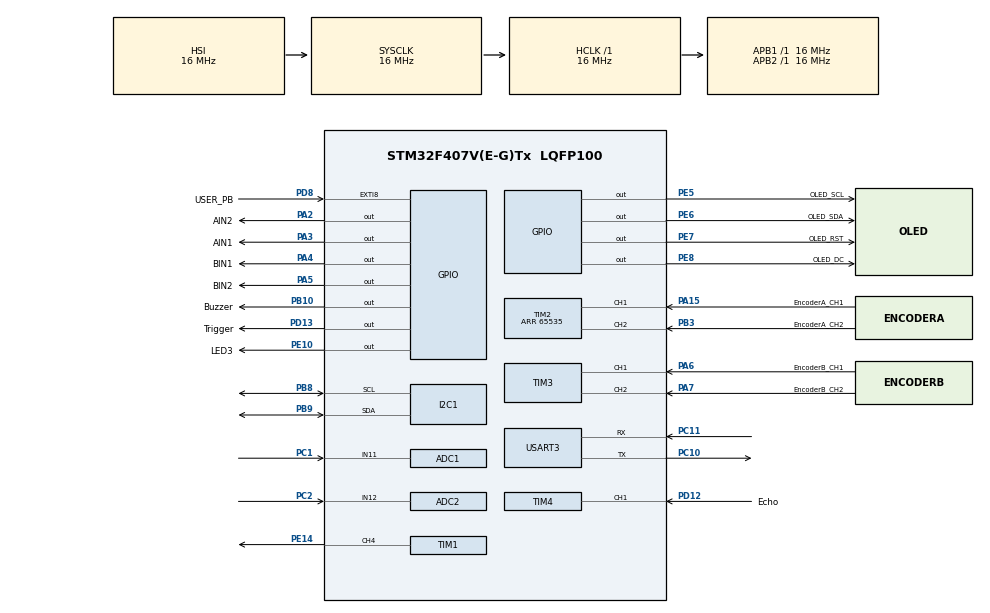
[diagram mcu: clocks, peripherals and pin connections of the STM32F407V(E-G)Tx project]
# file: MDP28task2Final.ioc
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ADC1.Channel-0\#ChannelRegularConversion=ADC_CHANNEL_11
ADC1.NbrOfConversionFlag=1
ADC1.Rank-0\#ChannelRegularConversion=1
ADC1.SamplingTime-0\#ChannelRegularConversion=ADC_SAMPLETIME_3CYCLES
ADC1.master=1
ADC2.Channel-0\#ChannelRegularConversion=ADC_CHANNEL_12
ADC2.NbrOfConversionFlag=1
ADC2.Rank-0\#ChannelRegularConversion=1
ADC2.SamplingTime-0\#ChannelRegularConversion=ADC_SAMPLETIME_3CYCLES
FREERTOS.Tasks01=defaultTask,24,128,StartDefaultTask,Default,NULL,Dynamic,NULL,NULL;motorTask,8,128,StartMotorTask,Default,NULL,Dynamic,NULL,NULL;OLEDTask,8,128,StartOLEDTask,Default,NULL,Dynamic,NULL,NULL;gyroTask,8,128,StartGyroTask,Default,NULL,Dynamic,NULL,NULL;ultrasonicTask,8,128,StartUltrasonicTask,Default,NULL,Dynamic,NULL,NULL;communicateTask,8,128,StartCommunicateTask,Default,NULL,Dynamic,NULL,NULL;encoderRTask,8,128,StartEncoderRTask,Default,NULL,Dynamic,NULL,NULL;encoderLTask,8,128,StartEncoderLTask,Default,NULL,Dynamic,NULL,NULL;Task2Handle,8,128,StartTask2,Default,NULL,Dynamic,NULL,NULL;IRTaskHandle,8,128,StartIRTask,Default,NULL,Dynamic,NULL,NULL
FREERTOS.configUSE_NEWLIB_REENTRANT=1
Mcu.Family=STM32F4
Mcu.Name=STM32F407V(E-G)Tx
Mcu.Package=LQFP100
NVIC.PriorityGroup=NVIC_PRIORITYGROUP_4
NVIC.RCC_IRQn=true\:5\:0\:false\:false\:true\:true\:true\:false\:true
NVIC.TIM1_BRK_TIM9_IRQn=true\:5\:0\:false\:false\:true\:false\:true\:true\:true
NVIC.TIM1_UP_TIM10_IRQn=true\:5\:0\:false\:false\:true\:false\:true\:true\:true
NVIC.TIM4_IRQn=true\:5\:0\:false\:false\:true\:true\:true\:true\:true
NVIC.TIM8_TRG_COM_TIM14_IRQn=true\:5\:0\:false\:false\:true\:false\:true\:true\:true
NVIC.USART3_IRQn=true\:5\:0\:false\:false\:true\:true\:true\:true\:true
PA15.GPIO_Label=EncoderA_CH1
PA15.Signal=S_TIM2_CH1_ETR
PA2.GPIO_Label=AIN2
PA2.GPIO_Speed=GPIO_SPEED_FREQ_HIGH
PA2.PinState=GPIO_PIN_RESET
PA2.Signal=GPIO_Output
PA3.GPIO_Label=AIN1
PA3.GPIO_Speed=GPIO_SPEED_FREQ_HIGH
PA3.Signal=GPIO_Output
PA4.GPIO_Label=BIN1
PA4.GPIO_Speed=GPIO_SPEED_FREQ_HIGH
PA4.Signal=GPIO_Output
PA5.GPIO_Label=BIN2
PA5.GPIO_Speed=GPIO_SPEED_FREQ_HIGH
PA5.Signal=GPIO_Output
PA6.GPIO_Label=EncoderB_CH1
PA6.Signal=S_TIM3_CH1
PA7.GPIO_Label=EncoderB_CH2
PA7.Signal=S_TIM3_CH2
PB10.GPIO_Label=Buzzer
PB10.Signal=GPIO_Output
PB3.GPIO_Label=EncoderA_CH2
PB3.Signal=S_TIM2_CH2
PB8.Mode=I2C
PB8.Signal=I2C1_SCL
PB9.Mode=I2C
PB9.Signal=I2C1_SDA
PC1.Signal=ADCx_IN11
PC10.Mode=Asynchronous
PC10.Signal=USART3_TX
PC11.Mode=Asynchronous
PC11.Signal=USART3_RX
PC2.Signal=ADCx_IN12
PC6.GPIO_Label=PWMA
PC6.Signal=S_TIM8_CH1
PC7.GPIO_Label=PWMB
PC7.Signal=S_TIM8_CH2
PD12.GPIO_Label=Echo
PD12.Signal=S_TIM4_CH1
PD13.GPIO_Label=Trigger
PD13.Signal=GPIO_Output
PD8.GPIO_Label=USER_PB
PD8.Signal=GPXTI8
PE10.GPIO_Label=LED3
PE10.Signal=GPIO_Output
PE14.Signal=S_TIM1_CH4
PE5.GPIO_Label=OLED_SCL
PE5.Signal=GPIO_Output
PE6.GPIO_Label=OLED_SDA
PE6.Signal=GPIO_Output
PE7.GPIO_Label=OLED_RST
PE7.Signal=GPIO_Output
PE8.GPIO_Label=OLED_DC
PE8.Signal=GPIO_Output
PH0-OSC_IN.Mode=HSE-External-Oscillator
PH0-OSC_IN.Signal=RCC_OSC_IN
PH1-OSC_OUT.Mode=HSE-External-Oscillator
PH1-OSC_OUT.Signal=RCC_OSC_OUT
ProjectManager.HeapSize=0x200
ProjectManager.StackSize=0x400
ProjectManager.TargetToolchain=STM32CubeIDE
RCC.AHBFreq_Value=16000000
RCC.APB1Freq_Value=16000000
RCC.APB2Freq_Value=16000000
RCC.CortexFreq_Value=16000000
RCC.HSE_VALUE=25000000
RCC.HSI_VALUE=16000000
RCC.LSE_VALUE=32768
RCC.SYSCLKFreq_VALUE=16000000
RCC.VCOOutputFreq_Value=192000000
SH.ADCx_IN11.0=ADC1_IN11,IN11
SH.ADCx_IN12.0=ADC2_IN12,IN12
SH.S_TIM1_CH4.0=TIM1_CH4,PWM Generation4 CH4
SH.S_TIM2_CH1_ETR.0=TIM2_CH1,Encoder_Interface
SH.S_TIM2_CH2.0=TIM2_CH2,Encoder_Interface
SH.S_TIM3_CH1.0=TIM3_CH1,Encoder_Interface
SH.S_TIM3_CH2.0=TIM3_CH2,Encoder_Interface
SH.S_TIM4_CH1.0=TIM4_CH1,Input_Capture1_from_TI1
SH.S_TIM8_CH1.0=TIM8_CH1
SH.S_TIM8_CH2.0=TIM8_CH2
TIM1.AutoReloadPreload=TIM_AUTORELOAD_PRELOAD_ENABLE
TIM1.Channel-PWM\ Generation4\ CH4=TIM_CHANNEL_4
TIM1.Period=1000
TIM1.Prescaler=160
TIM2.EncoderMode=TIM_ENCODERMODE_TI12
TIM2.IC1Filter=10
TIM2.IC2Filter=10
TIM2.Period=65535
TIM3.EncoderMode=TIM_ENCODERMODE_TI12
TIM3.IC1Filter=10
TIM3.IC2Filter=10
TIM4.Channel-Input_Capture1_from_TI1=TIM_CHANNEL_1
TIM4.Prescaler=16
TIM8.Channel-PWM\ Generation1\ No\ Output=TIM_CHANNEL_1
TIM8.Channel-PWM\ Generation2\ No\ Output=TIM_CHANNEL_2
TIM8.Period=7199
USART3.VirtualMode=VM_ASYNC
VP_FREERTOS_VS_CMSIS_V2.Mode=CMSIS_V2
VP_TIM1_VS_ClockSourceINT.Mode=Internal
VP_TIM8_VS_ClockSourceINT.Mode=Internal
VP_TIM8_VS_no_output1.Mode=PWM Generation1 No Output
VP_TIM8_VS_no_output2.Mode=PWM Generation2 No Output
board=custom

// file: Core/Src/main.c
/* USER CODE BEGIN Header */
/**
 ******************************************************************************
 * @file           : main.c
 * @brief          : Main program body
 ******************************************************************************
 * @attention
 *
 * Copyright (c) 2023 STMicroelectronics.
 * All rights reserved.
 *
 * This software is licensed under terms that can be found in the LICENSE file
 * in the root directory of this software component.
 * If no LICENSE file comes with this software, it is provided AS-IS.
 *
 ******************************************************************************
 */
/* USER CODE END Header */
#include "main.h"
#include "cmsis_os.h"

/* USER CODE BEGIN PD */
#define SERVOCENTER 149
#define SERVORIGHT 210
#define SERVOLEFT 105
/* USER CODE END PD */

ADC_HandleTypeDef hadc1;
ADC_HandleTypeDef hadc2;

I2C_HandleTypeDef hi2c1;

TIM_HandleTypeDef htim1;
TIM_HandleTypeDef htim2;
TIM_HandleTypeDef htim3;
TIM_HandleTypeDef htim4;
TIM_HandleTypeDef htim8;

UART_HandleTypeDef huart3;

/* Definitions for defaultTask */
osThreadId_t defaultTaskHandle;
const osThreadAttr_t defaultTask_attributes = {
  .name = "defaultTask",
  .stack_size = 128 * 4,
  .priority = (osPriority_t) osPriorityNormal,
};
/* Definitions for motorTask */
osThreadId_t motorTaskHandle;
const osThreadAttr_t motorTask_attributes = {
  .name = "motorTask",
  .stack_size = 128 * 4,
  .priority = (osPriority_t) osPriorityLow,
};
/* Definitions for OLEDTask */
osThreadId_t OLEDTaskHandle;
const osThreadAttr_t OLEDTask_attributes = {
  .name = "OLEDTask",
  .stack_size = 128 * 4,
  .priority = (osPriority_t) osPriorityLow,
};
/* Definitions for gyroTask */
osThreadId_t gyroTaskHandle;
const osThreadAttr_t gyroTask_attributes = {
  .name = "gyroTask",
  .stack_size = 128 * 4,
  .priority = (osPriority_t) osPriorityLow,
};
/* Definitions for ultrasonicTask */
osThreadId_t ultrasonicTaskHandle;
const osThreadAttr_t ultrasonicTask_attributes = {
  .name = "ultrasonicTask",
  .stack_size = 128 * 4,
  .priority = (osPriority_t) osPriorityLow,
};
/* Definitions for communicateTask */
osThreadId_t communicateTaskHandle;
const osThreadAttr_t communicateTask_attributes = {
  .name = "communicateTask",
  .stack_size = 128 * 4,
  .priority = (osPriority_t) osPriorityLow,
};
/* Definitions for encoderRTask */
osThreadId_t encoderRTaskHandle;
const osThreadAttr_t encoderRTask_attributes = {
  .name = "encoderRTask",
  .stack_size = 128 * 4,
  .priority = (osPriority_t) osPriorityLow,
};
/* Definitions for encoderLTask */
osThreadId_t encoderLTaskHandle;
const osThreadAttr_t encoderLTask_attributes = {
  .name = "encoderLTask",
  .stack_size = 128 * 4,
  .priority = (osPriority_t) osPriorityLow,
};
/* Definitions for Task2Handle */
osThreadId_t Task2HandleHandle;
const osThreadAttr_t Task2Handle_attributes = {
  .name = "Task2Handle",
  .stack_size = 128 * 4,
  .priority = (osPriority_t) osPriorityLow,
};
/* Definitions for IRTaskHandle */
osThreadId_t IRTaskHandleHandle;
const osThreadAttr_t IRTaskHandle_attributes = {
  .name = "IRTaskHandle",
  .stack_size = 128 * 4,
  .priority = (osPriority_t) osPriorityLow,
};

void SystemClock_Config(void);
static void MX_GPIO_Init(void);
static void MX_I2C1_Init(void);
static void MX_TIM1_Init(void);
static void MX_TIM2_Init(void);
static void MX_TIM3_Init(void);
static void MX_TIM4_Init(void);
static void MX_TIM8_Init(void);
static void MX_USART3_UART_Init(void);
static void MX_ADC1_Init(void);
static void MX_ADC2_Init(void);
void StartDefaultTask(void *argument);
void StartMotorTask(void *argument);
void StartOLEDTask(void *argument);
void StartGyroTask(void *argument);
void StartUltrasonicTask(void *argument);
void StartCommunicateTask(void *argument);
void StartEncoderRTask(void *argument);
void StartEncoderLTask(void *argument);
void StartTask2(void *argument);
void StartIRTask(void *argument);

/* USER CODE BEGIN 0 */
// communication
uint8_t aRxBuffer[5] = { 0 };
int flagDone = 0;
int magnitude = 0;
int start =0;
char databuffer[20];
double sendback;

// movement
uint16_t pwmVal_servo = SERVOCENTER;
uint16_t pwmVal_R = 0;
uint16_t pwmVal_L = 0;
int control = 0;
int control2 = 0;
int control3 = 0;
volatile int times_acceptable = 0;
int e_brake = 0;
int extraNudge = 0;
int errorcorrection = 0;
int straightUS = 0;

// encoder
int32_t rightEncoderVal = 0, leftEncoderVal = 0;
int32_t rightTarget = 0, leftTarget = 0;
double target_angle = 0;

// gyro
double total_angle = 0;
uint8_t gyroBuffer[20];
uint8_t ICMAddress = 0x68;
double error_angle = 0;

// ultrasonic
int Is_First_Captured = 0;
int32_t IC_Val1 = 0;
int32_t IC_Val2 = 0;
uint16_t Difference = 0;
uint16_t Distance = 0;
uint16_t firstDistance = -1;
int k=0;

//task 2 Juke functions
int activateJuke=0;
int scan=0;
int turnDone=0;
int straightDone=0;
int travel = 0;
char nexttask = '8';
int turn90 = 0;
int movebackL=0;
int movebackR=0;
int usTargetGLOBAL = 28;
double universalDistance = 0;
int moveBackLeftRun1 = 0;
int moveBackRightRun1 = 0;
int moveBackLeftRun2 = 0;
int moveBackRightRun2 = 0;
int obsTwoLength = 0;
int obsTwoFlag = 0;

float voltage1, voltage2 = 0;
int irDistance1, irDistance2 = 0;
uint32_t ADC_VAL1,ADC_VAL2 = 0;

int main(void)
{
	/* Reset of all peripherals, Initializes the Flash interface and the Systick. */
	HAL_Init();
	SystemClock_Config();
	MX_GPIO_Init();
	MX_I2C1_Init();
	MX_TIM1_Init();
	MX_TIM2_Init();
	MX_TIM3_Init();
	MX_TIM4_Init();
	MX_TIM8_Init();
	MX_USART3_UART_Init();
	MX_ADC1_Init();
	MX_ADC2_Init();
	/* USER CODE BEGIN 2 */
	OLED_Init();
	HAL_UART_Receive_IT(&huart3, (uint8_t*) aRxBuffer, 5);
	/* USER CODE END 2 */

	/* Init scheduler */
	osKernelInitialize();
	defaultTaskHandle = osThreadNew(StartDefaultTask, NULL, &defaultTask_attributes);
	/* creation of motorTask */
	motorTaskHandle = osThreadNew(StartMotorTask, NULL, &motorTask_attributes);
	/* creation of OLEDTask */
	OLEDTaskHandle = osThreadNew(StartOLEDTask, NULL, &OLEDTask_attributes);
	/* creation of gyroTask */
	gyroTaskHandle = osThreadNew(StartGyroTask, NULL, &gyroTask_attributes);
	/* creation of ultrasonicTask */
	ultrasonicTaskHandle = osThreadNew(StartUltrasonicTask, NULL, &ultrasonicTask_attributes);
	/* creation of communicateTask */
	communicateTaskHandle = osThreadNew(StartCommunicateTask, NULL, &communicateTask_attributes);
	/* creation of encoderRTask */
	encoderRTaskHandle = osThreadNew(StartEncoderRTask, NULL, &encoderRTask_attributes);
	/* creation of encoderLTask */
	encoderLTaskHandle = osThreadNew(StartEncoderLTask, NULL, &encoderLTask_attributes);
	/* creation of Task2Handle */
	Task2HandleHandle = osThreadNew(StartTask2, NULL, &Task2Handle_attributes);
	/* creation of IRTaskHandle */
	IRTaskHandleHandle = osThreadNew(StartIRTask, NULL, &IRTaskHandle_attributes);
	osKernelStart();
	while (1) {

	}
}

void SystemClock_Config(void)
{
  RCC_OscInitTypeDef RCC_OscInitStruct = {0};
  RCC_ClkInitTypeDef RCC_ClkInitStruct = {0};

  /** Configure the main internal regulator output voltage
  */
  __HAL_RCC_PWR_CLK_ENABLE();
  __HAL_PWR_VOLTAGESCALING_CONFIG(PWR_REGULATOR_VOLTAGE_SCALE1);

  /** Initializes the RCC Oscillators according to the specified parameters
  * in the RCC_OscInitTypeDef structure.
  */
  RCC_OscInitStruct.OscillatorType = RCC_OSCILLATORTYPE_HSI;
  RCC_OscInitStruct.HSIState = RCC_HSI_ON;
  RCC_OscInitStruct.HSICalibrationValue = RCC_HSICALIBRATION_DEFAULT;
  RCC_OscInitStruct.PLL.PLLState = RCC_PLL_NONE;
  if (HAL_RCC_OscConfig(&RCC_OscInitStruct) != HAL_OK)
  {
    Error_Handler();
  }

  /** Initializes the CPU, AHB and APB buses clocks
  */
  RCC_ClkInitStruct.ClockType = RCC_CLOCKTYPE_HCLK|RCC_CLOCKTYPE_SYSCLK
                              |RCC_CLOCKTYPE_PCLK1|RCC_CLOCKTYPE_PCLK2;
  RCC_ClkInitStruct.SYSCLKSource = RCC_SYSCLKSOURCE_HSI;
  RCC_ClkInitStruct.AHBCLKDivider = RCC_SYSCLK_DIV1;
  RCC_ClkInitStruct.APB1CLKDivider = RCC_HCLK_DIV1;
  RCC_ClkInitStruct.APB2CLKDivider = RCC_HCLK_DIV1;

  if (HAL_RCC_ClockConfig(&RCC_ClkInitStruct, FLASH_LATENCY_0) != HAL_OK)
  {
    Error_Handler();
  }
}

static void MX_ADC1_Init(void)
{

  ADC_ChannelConfTypeDef sConfig = {0};

  /** Configure the global features of the ADC (Clock, Resolution, Data Alignment and number of conversion)
  */
  hadc1.Instance = ADC1;
  hadc1.Init.ClockPrescaler = ADC_CLOCK_SYNC_PCLK_DIV2;
  hadc1.Init.Resolution = ADC_RESOLUTION_12B;
  hadc1.Init.ScanConvMode = DISABLE;
  hadc1.Init.ContinuousConvMode = DISABLE;
  hadc1.Init.DiscontinuousConvMode = DISABLE;
  hadc1.Init.ExternalTrigConvEdge = ADC_EXTERNALTRIGCONVEDGE_NONE;
  hadc1.Init.ExternalTrigConv = ADC_SOFTWARE_START;
  hadc1.Init.DataAlign = ADC_DATAALIGN_RIGHT;
  hadc1.Init.NbrOfConversion = 1;
  hadc1.Init.DMAContinuousRequests = DISABLE;
  hadc1.Init.EOCSelection = ADC_EOC_SINGLE_CONV;
  if (HAL_ADC_Init(&hadc1) != HAL_OK)
  {
    Error_Handler();
  }

  /** Configure for the selected ADC regular channel its corresponding rank in the sequencer and its sample time.
  */
  sConfig.Channel = ADC_CHANNEL_11;
  sConfig.Rank = 1;
  sConfig.SamplingTime = ADC_SAMPLETIME_3CYCLES;
  if (HAL_ADC_ConfigChannel(&hadc1, &sConfig) != HAL_OK)
  {
    Error_Handler();
  }

}

static void MX_ADC2_Init(void)
{

  ADC_ChannelConfTypeDef sConfig = {0};

  /** Configure the global features of the ADC (Clock, Resolution, Data Alignment and number of conversion)
  */
  hadc2.Instance = ADC2;
  hadc2.Init.ClockPrescaler = ADC_CLOCK_SYNC_PCLK_DIV2;
  hadc2.Init.Resolution = ADC_RESOLUTION_12B;
  hadc2.Init.ScanConvMode = DISABLE;
  hadc2.Init.ContinuousConvMode = DISABLE;
  hadc2.Init.DiscontinuousConvMode = DISABLE;
  hadc2.Init.ExternalTrigConvEdge = ADC_EXTERNALTRIGCONVEDGE_NONE;
  hadc2.Init.ExternalTrigConv = ADC_SOFTWARE_START;
  hadc2.Init.DataAlign = ADC_DATAALIGN_RIGHT;
  hadc2.Init.NbrOfConversion = 1;
  hadc2.Init.DMAContinuousRequests = DISABLE;
  hadc2.Init.EOCSelection = ADC_EOC_SINGLE_CONV;
  if (HAL_ADC_Init(&hadc2) != HAL_OK)
  {
    Error_Handler();
  }

  /** Configure for the selected ADC regular channel its corresponding rank in the sequencer and its sample time.
  */
  sConfig.Channel = ADC_CHANNEL_12;
  sConfig.Rank = 1;
  sConfig.SamplingTime = ADC_SAMPLETIME_3CYCLES;
  if (HAL_ADC_ConfigChannel(&hadc2, &sConfig) != HAL_OK)
  {
    Error_Handler();
  }
}

static void MX_I2C1_Init(void)
{
  hi2c1.Instance = I2C1;
  hi2c1.Init.ClockSpeed = 100000;
  hi2c1.Init.DutyCycle = I2C_DUTYCYCLE_2;
  hi2c1.Init.OwnAddress1 = 0;
  hi2c1.Init.AddressingMode = I2C_ADDRESSINGMODE_7BIT;
  hi2c1.Init.DualAddressMode = I2C_DUALADDRESS_DISABLE;
  hi2c1.Init.OwnAddress2 = 0;
  hi2c1.Init.GeneralCallMode = I2C_GENERALCALL_DISABLE;
  hi2c1.Init.NoStretchMode = I2C_NOSTRETCH_DISABLE;
  if (HAL_I2C_Init(&hi2c1) != HAL_OK)
  {
    Error_Handler();
  }
}

static void MX_TIM1_Init(void)
{

  TIM_ClockConfigTypeDef sClockSourceConfig = {0};
  TIM_MasterConfigTypeDef sMasterConfig = {0};
  TIM_OC_InitTypeDef sConfigOC = {0};
  TIM_BreakDeadTimeConfigTypeDef sBreakDeadTimeConfig = {0};
  htim1.Instance = TIM1;
  htim1.Init.Prescaler = 160;
  htim1.Init.CounterMode = TIM_COUNTERMODE_UP;
  htim1.Init.Period = 1000;
  htim1.Init.ClockDivision = TIM_CLOCKDIVISION_DIV1;
  htim1.Init.RepetitionCounter = 0;
  htim1.Init.AutoReloadPreload = TIM_AUTORELOAD_PRELOAD_ENABLE;
  if (HAL_TIM_Base_Init(&htim1) != HAL_OK)
  {
    Error_Handler();
  }
  sClockSourceConfig.ClockSource = TIM_CLOCKSOURCE_INTERNAL;
  if (HAL_TIM_ConfigClockSource(&htim1, &sClockSourceConfig) != HAL_OK)
  {
    Error_Handler();
  }
  if (HAL_TIM_PWM_Init(&htim1) != HAL_OK)
  {
    Error_Handler();
  }
  sMasterConfig.MasterOutputTrigger = TIM_TRGO_RESET;
  sMasterConfig.MasterSlaveMode = TIM_MASTERSLAVEMODE_DISABLE;
  if (HAL_TIMEx_MasterConfigSynchronization(&htim1, &sMasterConfig) != HAL_OK)
  {
    Error_Handler();
  }
  sConfigOC.OCMode = TIM_OCMODE_PWM1;
  sConfigOC.Pulse = 0;
  sConfigOC.OCPolarity = TIM_OCPOLARITY_HIGH;
  sConfigOC.OCFastMode = TIM_OCFAST_DISABLE;
  sConfigOC.OCIdleState = TIM_OCIDLESTATE_RESET;
  sConfigOC.OCNIdleState = TIM_OCNIDLESTATE_RESET;
  if (HAL_TIM_PWM_ConfigChannel(&htim1, &sConfigOC, TIM_CHANNEL_4) != HAL_OK)
  {
    Error_Handler();
  }
  sBreakDeadTimeConfig.OffStateRunMode = TIM_OSSR_DISABLE;
  sBreakDeadTimeConfig.OffStateIDLEMode = TIM_OSSI_DISABLE;
  sBreakDeadTimeConfig.LockLevel = TIM_LOCKLEVEL_OFF;
  sBreakDeadTimeConfig.DeadTime = 0;
  sBreakDeadTimeConfig.BreakState = TIM_BREAK_DISABLE;
  sBreakDeadTimeConfig.BreakPolarity = TIM_BREAKPOLARITY_HIGH;
  sBreakDeadTimeConfig.AutomaticOutput = TIM_AUTOMATICOUTPUT_DISABLE;
  if (HAL_TIMEx_ConfigBreakDeadTime(&htim1, &sBreakDeadTimeConfig) != HAL_OK)
  {
    Error_Handler();
  }
  HAL_TIM_MspPostInit(&htim1);
}

// ! @brief TIM2 Initialization Function
static void MX_TIM2_Init(void)
{
  TIM_Encoder_InitTypeDef sConfig = {0};
  TIM_MasterConfigTypeDef sMasterConfig = {0};
  htim2.Instance = TIM2;
  htim2.Init.Prescaler = 0;
  htim2.Init.CounterMode = TIM_COUNTERMODE_UP;
  htim2.Init.Period = 65535;
  htim2.Init.ClockDivision = TIM_CLOCKDIVISION_DIV1;
  htim2.Init.AutoReloadPreload = TIM_AUTORELOAD_PRELOAD_DISABLE;
  sConfig.EncoderMode = TIM_ENCODERMODE_TI12;
  sConfig.IC1Polarity = TIM_ICPOLARITY_RISING;
  sConfig.IC1Selection = TIM_ICSELECTION_DIRECTTI;
  sConfig.IC1Prescaler = TIM_ICPSC_DIV1;
  sConfig.IC1Filter = 10;
  sConfig.IC2Polarity = TIM_ICPOLARITY_RISING;
  sConfig.IC2Selection = TIM_ICSELECTION_DIRECTTI;
  sConfig.IC2Prescaler = TIM_ICPSC_DIV1;
  sConfig.IC2Filter = 10;
  if (HAL_TIM_Encoder_Init(&htim2, &sConfig) != HAL_OK)
  {
    Error_Handler();
  }
  sMasterConfig.MasterOutputTrigger = TIM_TRGO_RESET;
  sMasterConfig.MasterSlaveMode = TIM_MASTERSLAVEMODE_DISABLE;
  if (HAL_TIMEx_MasterConfigSynchronization(&htim2, &sMasterConfig) != HAL_OK)
  {
    Error_Handler();
  }
}

// ! @brief TIM3 Initialization Function
static void MX_TIM3_Init(void)
{
  TIM_Encoder_InitTypeDef sConfig = {0};
  TIM_MasterConfigTypeDef sMasterConfig = {0};
  htim3.Instance = TIM3;
  htim3.Init.Prescaler = 0;
  htim3.Init.CounterMode = TIM_COUNTERMODE_UP;
  htim3.Init.Period = 65535;
  htim3.Init.ClockDivision = TIM_CLOCKDIVISION_DIV1;
  htim3.Init.AutoReloadPreload = TIM_AUTORELOAD_PRELOAD_DISABLE;
  sConfig.EncoderMode = TIM_ENCODERMODE_TI12;
  sConfig.IC1Polarity = TIM_ICPOLARITY_RISING;
  sConfig.IC1Selection = TIM_ICSELECTION_DIRECTTI;
  sConfig.IC1Prescaler = TIM_ICPSC_DIV1;
  sConfig.IC1Filter = 10;
  sConfig.IC2Polarity = TIM_ICPOLARITY_RISING;
  sConfig.IC2Selection = TIM_ICSELECTION_DIRECTTI;
  sConfig.IC2Prescaler = TIM_ICPSC_DIV1;
  sConfig.IC2Filter = 10;
  if (HAL_TIM_Encoder_Init(&htim3, &sConfig) != HAL_OK)
  {
    Error_Handler();
  }
  sMasterConfig.MasterOutputTrigger = TIM_TRGO_RESET;
  sMasterConfig.MasterSlaveMode = TIM_MASTERSLAVEMODE_DISABLE;
  if (HAL_TIMEx_MasterConfigSynchronization(&htim3, &sMasterConfig) != HAL_OK)
  {
    Error_Handler();
  }
}

// ! @brief TIM4 Initialization Function
static void MX_TIM4_Init(void)
{
  TIM_MasterConfigTypeDef sMasterConfig = {0};
  TIM_IC_InitTypeDef sConfigIC = {0};

  htim4.Instance = TIM4;
  htim4.Init.Prescaler = 16;
  htim4.Init.CounterMode = TIM_COUNTERMODE_UP;
  htim4.Init.Period = 65535;
  htim4.Init.ClockDivision = TIM_CLOCKDIVISION_DIV1;
  htim4.Init.AutoReloadPreload = TIM_AUTORELOAD_PRELOAD_DISABLE;
  if (HAL_TIM_IC_Init(&htim4) != HAL_OK)
  {
    Error_Handler();
  }
  sMasterConfig.MasterOutputTrigger = TIM_TRGO_RESET;
  sMasterConfig.MasterSlaveMode = TIM_MASTERSLAVEMODE_DISABLE;
  if (HAL_TIMEx_MasterConfigSynchronization(&htim4, &sMasterConfig) != HAL_OK)
  {
    Error_Handler();
  }
  sConfigIC.ICPolarity = TIM_INPUTCHANNELPOLARITY_RISING;
  sConfigIC.ICSelection = TIM_ICSELECTION_DIRECTTI;
  sConfigIC.ICPrescaler = TIM_ICPSC_DIV1;
  sConfigIC.ICFilter = 0;
  if (HAL_TIM_IC_ConfigChannel(&htim4, &sConfigIC, TIM_CHANNEL_1) != HAL_OK)
  {
    Error_Handler();
  }
}

//! @brief TIM8 Initialization Function
static void MX_TIM8_Init(void)
{
  TIM_ClockConfigTypeDef sClockSourceConfig = {0};
  TIM_MasterConfigTypeDef sMasterConfig = {0};
  TIM_OC_InitTypeDef sConfigOC = {0};
  TIM_BreakDeadTimeConfigTypeDef sBreakDeadTimeConfig = {0};
  htim8.Instance = TIM8;
  htim8.Init.Prescaler = 0;
  htim8.Init.CounterMode = TIM_COUNTERMODE_UP;
  htim8.Init.Period = 7199;
  htim8.Init.ClockDivision = TIM_CLOCKDIVISION_DIV1;
  htim8.Init.RepetitionCounter = 0;
  htim8.Init.AutoReloadPreload = TIM_AUTORELOAD_PRELOAD_DISABLE;
  if (HAL_TIM_Base_Init(&htim8) != HAL_OK)
  {
    Error_Handler();
  }
  sClockSourceConfig.ClockSource = TIM_CLOCKSOURCE_INTERNAL;
  if (HAL_TIM_ConfigClockSource(&htim8, &sClockSourceConfig) != HAL_OK)
  {
    Error_Handler();
  }
  if (HAL_TIM_PWM_Init(&htim8) != HAL_OK)
  {
    Error_Handler();
  }
  sMasterConfig.MasterOutputTrigger = TIM_TRGO_RESET;
  sMasterConfig.MasterSlaveMode = TIM_MASTERSLAVEMODE_DISABLE;
  if (HAL_TIMEx_MasterConfigSynchronization(&htim8, &sMasterConfig) != HAL_OK)
  {
    Error_Handler();
  }
  sConfigOC.OCMode = TIM_OCMODE_PWM1;
  sConfigOC.Pulse = 0;
  sConfigOC.OCPolarity = TIM_OCPOLARITY_HIGH;
  sConfigOC.OCNPolarity = TIM_OCNPOLARITY_HIGH;
  sConfigOC.OCFastMode = TIM_OCFAST_DISABLE;
  sConfigOC.OCIdleState = TIM_OCIDLESTATE_RESET;
  sConfigOC.OCNIdleState = TIM_OCNIDLESTATE_RESET;
  if (HAL_TIM_PWM_ConfigChannel(&htim8, &sConfigOC, TIM_CHANNEL_1) != HAL_OK)
  {
    Error_Handler();
  }
  if (HAL_TIM_PWM_ConfigChannel(&htim8, &sConfigOC, TIM_CHANNEL_2) != HAL_OK)
  {
    Error_Handler();
  }
  sBreakDeadTimeConfig.OffStateRunMode = TIM_OSSR_DISABLE;
  sBreakDeadTimeConfig.OffStateIDLEMode = TIM_OSSI_DISABLE;
  sBreakDeadTimeConfig.LockLevel = TIM_LOCKLEVEL_OFF;
  sBreakDeadTimeConfig.DeadTime = 0;
  sBreakDeadTimeConfig.BreakState = TIM_BREAK_DISABLE;
  sBreakDeadTimeConfig.BreakPolarity = TIM_BREAKPOLARITY_HIGH;
  sBreakDeadTimeConfig.AutomaticOutput = TIM_AUTOMATICOUTPUT_DISABLE;
  if (HAL_TIMEx_ConfigBreakDeadTime(&htim8, &sBreakDeadTimeConfig) != HAL_OK)
  {
    Error_Handler();
  }
}

// ! @brief USART3 Initialization Function
static void MX_USART3_UART_Init(void)
{
  huart3.Instance = USART3;
  huart3.Init.BaudRate = 115200;
  huart3.Init.WordLength = UART_WORDLENGTH_8B;
  huart3.Init.StopBits = UART_STOPBITS_1;
  huart3.Init.Parity = UART_PARITY_NONE;
  huart3.Init.Mode = UART_MODE_TX_RX;
  huart3.Init.HwFlowCtl = UART_HWCONTROL_NONE;
  huart3.Init.OverSampling = UART_OVERSAMPLING_16;
  if (HAL_UART_Init(&huart3) != HAL_OK)
  {
    Error_Handler();
  }
}

// ! @brief GPIO Initialization Function
static void MX_GPIO_Init(void)
{
  GPIO_InitTypeDef GPIO_InitStruct = {0};

  /* GPIO Ports Clock Enable */
  __HAL_RCC_GPIOE_CLK_ENABLE();
  __HAL_RCC_GPIOH_CLK_ENABLE();
  __HAL_RCC_GPIOC_CLK_ENABLE();
  __HAL_RCC_GPIOA_CLK_ENABLE();
  __HAL_RCC_GPIOB_CLK_ENABLE();
  __HAL_RCC_GPIOD_CLK_ENABLE();

  /*Configure GPIO pin Output Level */
  HAL_GPIO_WritePin(GPIOE, OLED_SCL_Pin|OLED_SDA_Pin|OLED_RST_Pin|OLED_DC_Pin
                          |LED3_Pin, GPIO_PIN_RESET);

  /*Configure GPIO pin Output Level */
  HAL_GPIO_WritePin(GPIOA, AIN2_Pin|AIN1_Pin|BIN1_Pin|BIN2_Pin, GPIO_PIN_RESET);

  /*Configure GPIO pin Output Level */
  HAL_GPIO_WritePin(Buzzer_GPIO_Port, Buzzer_Pin, GPIO_PIN_RESET);

  /*Configure GPIO pin Output Level */
  HAL_GPIO_WritePin(Trigger_GPIO_Port, Trigger_Pin, GPIO_PIN_RESET);

  /*Configure GPIO pins : OLED_SCL_Pin OLED_SDA_Pin OLED_RST_Pin OLED_DC_Pin
                           LED3_Pin */
  GPIO_InitStruct.Pin = OLED_SCL_Pin|OLED_SDA_Pin|OLED_RST_Pin|OLED_DC_Pin
                          |LED3_Pin;
  GPIO_InitStruct.Mode = GPIO_MODE_OUTPUT_PP;
  GPIO_InitStruct.Pull = GPIO_NOPULL;
  GPIO_InitStruct.Speed = GPIO_SPEED_FREQ_LOW;
  HAL_GPIO_Init(GPIOE, &GPIO_InitStruct);

  /*Configure GPIO pins : AIN2_Pin AIN1_Pin BIN1_Pin BIN2_Pin */
  GPIO_InitStruct.Pin = AIN2_Pin|AIN1_Pin|BIN1_Pin|BIN2_Pin;
  GPIO_InitStruct.Mode = GPIO_MODE_OUTPUT_PP;
  GPIO_InitStruct.Pull = GPIO_NOPULL;
  GPIO_InitStruct.Speed = GPIO_SPEED_FREQ_HIGH;
  HAL_GPIO_Init(GPIOA, &GPIO_InitStruct);

  /*Configure GPIO pin : Buzzer_Pin */
  GPIO_InitStruct.Pin = Buzzer_Pin;
  GPIO_InitStruct.Mode = GPIO_MODE_OUTPUT_PP;
  GPIO_InitStruct.Pull = GPIO_NOPULL;
  GPIO_InitStruct.Speed = GPIO_SPEED_FREQ_LOW;
  HAL_GPIO_Init(Buzzer_GPIO_Port, &GPIO_InitStruct);

  /*Configure GPIO pin : USER_PB_Pin */
  GPIO_InitStruct.Pin = USER_PB_Pin;
  GPIO_InitStruct.Mode = GPIO_MODE_IT_RISING;
  GPIO_InitStruct.Pull = GPIO_NOPULL;
  HAL_GPIO_Init(USER_PB_GPIO_Port, &GPIO_InitStruct);

  /*Configure GPIO pin : Trigger_Pin */
  GPIO_InitStruct.Pin = Trigger_Pin;
  GPIO_InitStruct.Mode = GPIO_MODE_OUTPUT_PP;
  GPIO_InitStruct.Pull = GPIO_NOPULL;
  GPIO_InitStruct.Speed = GPIO_SPEED_FREQ_LOW;
  HAL_GPIO_Init(Trigger_GPIO_Port, &GPIO_InitStruct);

}

/* USER CODE BEGIN 4 */
// communication
void HAL_UART_RxCpltCallback(UART_HandleTypeDef *huart) {
	/* to prevent unused argument(s) compilation warning */
	UNUSED(huart);
	HAL_UART_Receive_IT(&huart3, aRxBuffer, 5);
}
void HAL_GPIO_EXTI_Callback( uint16_t GPIO_Pin ) {
	if (GPIO_Pin == USER_PB_Pin) {
		if (start == 0){
			start = 1;
		    }
		else
			start = 0;
 	    }
}

// ultrasonic
void delay(uint16_t time) {
	__HAL_TIM_SET_COUNTER(&htim4, 0);
	while (__HAL_TIM_GET_COUNTER (&htim4) < time)
		;
}

void HAL_TIM_IC_CaptureCallback(TIM_HandleTypeDef *htim) {
	if (htim->Channel == HAL_TIM_ACTIVE_CHANNEL_1) {
		if (Is_First_Captured == 0) {
			IC_Val1 = HAL_TIM_ReadCapturedValue(htim, TIM_CHANNEL_1);
			Is_First_Captured = 1;
			__HAL_TIM_SET_CAPTUREPOLARITY(htim, TIM_CHANNEL_1,
					TIM_INPUTCHANNELPOLARITY_FALLING);
		} else if (Is_First_Captured == 1) {
			IC_Val2 = HAL_TIM_ReadCapturedValue(htim, TIM_CHANNEL_1);
			__HAL_TIM_SET_COUNTER(htim, 0);

			if (IC_Val2 > IC_Val1) {
				Difference = IC_Val2 - IC_Val1;
			}

			else if (IC_Val1 > IC_Val2) {
				Difference = (65535 - IC_Val1) + IC_Val2;
			}

			Distance = Difference * .0343 / 2;

			Is_First_Captured = 0;

			__HAL_TIM_SET_CAPTUREPOLARITY(htim, TIM_CHANNEL_1,
					TIM_INPUTCHANNELPOLARITY_RISING);
			__HAL_TIM_DISABLE_IT(&htim4, TIM_IT_CC1);
		}
	}
}

void HCSR04_Read(void) //Call when u want to get reading from US
{
	HAL_GPIO_WritePin(Trigger_GPIO_Port, Trigger_Pin, GPIO_PIN_SET);
	delay(10);
	HAL_GPIO_WritePin(Trigger_GPIO_Port, Trigger_Pin, GPIO_PIN_RESET);
	__HAL_TIM_ENABLE_IT(&htim4, TIM_IT_CC1);
}
//task 2 funct

// movement
void moveCarStraight(double distance) {
	distance = distance * 75 * 0.99;
	pwmVal_servo = SERVOCENTER;
	osDelay(300);
	e_brake = 0;
	times_acceptable = 0;
	rightEncoderVal = 75000;
	leftEncoderVal = 75000;
	rightTarget = 75000;
	leftTarget = 75000;
	rightTarget += distance;
	leftTarget += distance;
	control =0;
	//while (finishCheck2());

}

void buzzerBeep()
{
	HAL_GPIO_TogglePin(GPIOB, GPIO_PIN_10); //Buzzer On
	HAL_Delay(1000);
	HAL_GPIO_TogglePin(GPIOB, GPIO_PIN_10); //Buzzer Off
}

void moveCarStop() {
	e_brake = 1;
	pwmVal_servo = SERVOCENTER;
	osDelay(300);
}

void moveCarRight(double angle) {
	pwmVal_servo = SERVORIGHT;
	osDelay(200);
	e_brake = 0;
	control = 1;
	times_acceptable = 0;
	target_angle -= angle;
	while (finishCheck2());
}

void moveCarRightFaster(double angle) {
	pwmVal_servo = SERVORIGHT;
	osDelay(100);
	e_brake = 0;
	control = 1;
	times_acceptable = 0;
	target_angle -= angle;
	while (finishCheck2());
}

void moveCarLeftFaster(double angle) {
	pwmVal_servo = SERVOLEFT;
	osDelay(100);
	e_brake = 0;
	control = 1;
	times_acceptable = 0;
	target_angle += angle;
	while (finishCheck2());
}

void moveCarLeft(double angle) {
	pwmVal_servo = SERVOLEFT;
	osDelay(300);
	e_brake = 0;
	control = 1;
	times_acceptable = 0;
	target_angle += angle;
	while (finishCheck2());
}

// error correction
int PID_Control(int error, int right) {//straights
	if (right) { //rightMotor
		if (error > 0) { //go forward
			HAL_GPIO_WritePin(GPIOA, BIN1_Pin, GPIO_PIN_SET); // set direction of rotation for wheel B- forward
			HAL_GPIO_WritePin(GPIOA, BIN2_Pin, GPIO_PIN_RESET);
		} else { //go backward
			HAL_GPIO_WritePin(GPIOA, BIN1_Pin, GPIO_PIN_RESET); // set direction of rotation for wheel B - reverse
			HAL_GPIO_WritePin(GPIOA, BIN2_Pin, GPIO_PIN_SET);
		}
	} else { //leftMotor
		if (error > 0) { //go forward
			HAL_GPIO_WritePin(GPIOA, AIN1_Pin, GPIO_PIN_SET); // set direction of rotation for wheel A - forward
			HAL_GPIO_WritePin(GPIOA, AIN2_Pin, GPIO_PIN_RESET);
		} else { //go backward
			HAL_GPIO_WritePin(GPIOA, AIN1_Pin, GPIO_PIN_RESET); // set direction of rotation for wheel A - reverse
			HAL_GPIO_WritePin(GPIOA, AIN2_Pin, GPIO_PIN_SET);
		}
	}
	error = abs(error);
	if (error > 2000) {
		return 4000; // 3000
	} else if (error > 500) {
		return 3000; // 2500
	} else if (error > 200) {
		return 2500; // 1700
	} else if (error > 100) {
		return 1500; // 1000
	} else if (error > 2) {
		times_acceptable++;
		return 700;
	} else if (error >= 1) {
		times_acceptable++;
		return 0;
	} else {
		times_acceptable++;
		return 0;
	}
}
int PID_Juke(double error, int right)//ultrasonic
{
	//int outputPWM = 0;
	int temp = 1;

	//degree of acceptance will be 28-28.5, 40?  //10

	if (error < usTargetGLOBAL){
		error = usTargetGLOBAL*2 - error ;
		temp = -1;
	}

	if(right){//rightMotor
		if(temp>0){//go forward
			HAL_GPIO_WritePin(GPIOA, BIN1_Pin, GPIO_PIN_SET); // set direction of rotation for wheel B- forward
			HAL_GPIO_WritePin(GPIOA, BIN2_Pin, GPIO_PIN_RESET);
		}else{//go backward
		    HAL_GPIO_WritePin(GPIOA, BIN1_Pin, GPIO_PIN_RESET); // set direction of rotation for wheel B - reverse
			HAL_GPIO_WritePin(GPIOA, BIN2_Pin, GPIO_PIN_SET);
		}
	}else{//leftMotor
		if(temp>0){//go forward
			HAL_GPIO_WritePin(GPIOA, AIN1_Pin, GPIO_PIN_SET); // set direction of rotation for wheel A - forward
			HAL_GPIO_WritePin(GPIOA, AIN2_Pin, GPIO_PIN_RESET);
		}else{//go backward
		    HAL_GPIO_WritePin(GPIOA, AIN1_Pin, GPIO_PIN_RESET); // set direction of rotation for wheel A - reverse
			HAL_GPIO_WritePin(GPIOA, AIN2_Pin, GPIO_PIN_SET);
		}
	}

	if(error<0){
		error *= -1;
	}

	if(error > 40){
		return 4000; // 4000
	}else if(error > usTargetGLOBAL+9){
		return 3500; // 3300
	}else if(error > usTargetGLOBAL+5){
		return 1500; //900
	}
	else if(error > usTargetGLOBAL+3){
			times_acceptable++; // there is None here
			return 900; //900
	}else if(error <=usTargetGLOBAL+.5){
		times_acceptable++;
		return 0;
	}else{
		times_acceptable +=500;; //500
		return 0;
	}

}

int PID_Angle(double errord, int right) {
	int error = (int) (errord * 10);
	if (right) { //rightMotor
		if (error > 0) { //go forward
			HAL_GPIO_WritePin(GPIOA, BIN1_Pin, GPIO_PIN_SET); // set direction of rotation for wheel B- forward
			HAL_GPIO_WritePin(GPIOA, BIN2_Pin, GPIO_PIN_RESET);
		} else { //go backward
			HAL_GPIO_WritePin(GPIOA, BIN1_Pin, GPIO_PIN_RESET); // set direction of rotation for wheel B - reverse
			HAL_GPIO_WritePin(GPIOA, BIN2_Pin, GPIO_PIN_SET);
		}
	} else { //leftMotor
		if (error < 0) { //go forward
			HAL_GPIO_WritePin(GPIOA, AIN1_Pin, GPIO_PIN_SET); // set direction of rotation for wheel A - forward
			HAL_GPIO_WritePin(GPIOA, AIN2_Pin, GPIO_PIN_RESET);
		} else { //go backward
			HAL_GPIO_WritePin(GPIOA, AIN1_Pin, GPIO_PIN_RESET); // set direction of rotation for wheel A - reverse
			HAL_GPIO_WritePin(GPIOA, AIN2_Pin, GPIO_PIN_SET);
		}
	}

	error = abs(error);
	if (error > 1000){
		return 6000; // new add
	}else if (error > 700) {
		return 5500;
	}else if (error > 300) {
		return 3600; // 3300
	} else if (error > 200) {
		return 3200; // 3000
	} else if (error > 150) {
		return 3000; // 2400
	} else if (error > 100) {
		return 2600; // 2000
	}else if (error > 70) {
//		times_acceptable++;
		return 1500;
	} else if (error > 50) {
		times_acceptable++;
		return 1000; // 1000
	} else if (error >= 25) {
		times_acceptable++;
		return 900; // 1000
	} else if (error >= 8) {
		times_acceptable++;
		return 800;
	} else {
		times_acceptable++;
		return 200; // 200
	}
}

int finishCheck() {
	if (times_acceptable > 20) {
		e_brake = 1;
		pwmVal_L = pwmVal_R = 0;
		leftTarget = leftEncoderVal;
		rightTarget = rightEncoderVal;
		times_acceptable = 0;
		straightUS = 0;
		errorcorrection = 0;
		control = 0;
		osDelay(30);

		return 0;
	}
	return 1;
}
int finishCheck2() {
	if (times_acceptable > 8) { // 5

		return 0;
	}
	return 1;
}

void finished() {
		e_brake = 1;
		pwmVal_L = pwmVal_R = 0;
		leftTarget = leftEncoderVal;
		rightTarget = rightEncoderVal;
		times_acceptable = 0;
		control = 0;
		control2 = 0;
		control3 = 0;
		straightUS = 0;
		osDelay(30);

}

void IRCheck(int a){
	pwmVal_servo = a;
	osDelay(30);
	e_brake = 0;
	control = 1;
}

// gyro
void readByte(uint8_t addr, uint8_t *data) {
	gyroBuffer[0] = addr;
	HAL_I2C_Master_Transmit(&hi2c1, ICMAddress << 1, gyroBuffer, 1, 10);
	HAL_I2C_Master_Receive(&hi2c1, ICMAddress << 1, data, 2, 20);
}

void writeByte(uint8_t addr, uint8_t data) {
	gyroBuffer[0] = addr;
	gyroBuffer[1] = data;
	HAL_I2C_Master_Transmit(&hi2c1, ICMAddress << 1, gyroBuffer, 2, 20);
}

void gyroInit() {
	writeByte(0x06, 0x00);
	osDelay(10);
	writeByte(0x03, 0x80);
	osDelay(10);
	writeByte(0x07, 0x07);
	osDelay(10);
	writeByte(0x06, 0x01);
	osDelay(10);
	writeByte(0x7F, 0x20);
	osDelay(10);
	writeByte(0x01, 0x2F);
	osDelay(10);
	writeByte(0x0, 0x00);
	osDelay(10);
	writeByte(0x7F, 0x00);
	osDelay(10);
	writeByte(0x07, 0x00);
	osDelay(10);
}

void StartDefaultTask(void *argument)
{
  /* USER CODE BEGIN 5 */
	/* Infinite loop */
	for (;;) {
		HAL_GPIO_TogglePin(LED3_GPIO_Port, LED3_Pin);
		osDelay(2000);
	}
  /* USER CODE END 5 */
}

void StartMotorTask(void *argument)
{
	//control = 1 gives free rein over the servo direction
  /* USER CODE BEGIN StartMotorTask */
	pwmVal_R = 0;
	pwmVal_L = 0;
	int straightCorrection = 0;
	HAL_TIM_PWM_Start(&htim8, TIM_CHANNEL_1);
	HAL_TIM_PWM_Start(&htim8, TIM_CHANNEL_2);
	HAL_TIM_PWM_Start(&htim1, TIM_CHANNEL_4);
	htim1.Instance->CCR4 = SERVOCENTER; //Centre

	osDelay(300);

	/* Infinite loop */
	for (;;) {
		htim1.Instance->CCR4 = pwmVal_servo;
		error_angle = target_angle - total_angle;
		if(control == 1){
			if (pwmVal_servo < 127) { //106 //TURN LEFT
				//gyroCheck = PID_Angle(error_angle, 1);
				pwmVal_R = PID_Angle(error_angle, 1);  //right is master
				pwmVal_L = pwmVal_R * (0.33); //left is slave
				HAL_GPIO_WritePin(GPIOA, AIN1_Pin, GPIO_PIN_SET); // set direction of rotation for wheel A- reverse
				HAL_GPIO_WritePin(GPIOA, AIN2_Pin, GPIO_PIN_RESET);
				HAL_GPIO_WritePin(GPIOA, BIN2_Pin, GPIO_PIN_RESET); // set direction of rotation for wheel B - Forward
				HAL_GPIO_WritePin(GPIOA, BIN1_Pin, GPIO_PIN_SET);
			} else if (pwmVal_servo > 189) { //230 //TURN RIGHT
				//gyroCheck = PID_Angle(error_angle, 0);
				pwmVal_L = PID_Angle(error_angle, 0);
				pwmVal_R = pwmVal_L * (0.37); //right is slave
				HAL_GPIO_WritePin(GPIOA, AIN1_Pin, GPIO_PIN_SET); // set direction of rotation for wheel A- reverse
				HAL_GPIO_WritePin(GPIOA, AIN2_Pin, GPIO_PIN_RESET);
				HAL_GPIO_WritePin(GPIOA, BIN2_Pin, GPIO_PIN_RESET); // set direction of rotation for wheel B - Forward
				HAL_GPIO_WritePin(GPIOA, BIN1_Pin, GPIO_PIN_SET);
			}
			else{
				if(control2 ==1 && control3 == 0){
					pwmVal_R = 4500; // 2600
					pwmVal_L = 4500; // 2600
				} else if (control2 == 1 && control3 == 1) {
					pwmVal_R = 3000; // 2600
					pwmVal_L = 3000; // 2600 run slight real slow
				}
				else{
					pwmVal_R = 5000; // 4000
					pwmVal_L = 5000; // 4000
				}
				HAL_GPIO_WritePin(GPIOA, AIN1_Pin, GPIO_PIN_SET); // set direction of rotation for wheel A- reverse
				HAL_GPIO_WritePin(GPIOA, AIN2_Pin, GPIO_PIN_RESET);
				HAL_GPIO_WritePin(GPIOA, BIN2_Pin, GPIO_PIN_RESET); // set direction of rotation for wheel B - Forward
				HAL_GPIO_WritePin(GPIOA, BIN1_Pin, GPIO_PIN_SET);
				if(errorcorrection == 1){
					if (error_angle>5){ // if turn left, 106. right 230. left +. right -.
						pwmVal_servo=((8*5)/5 + 150);
					}
					else if(error_angle<-5){
						pwmVal_servo=((-8*5)/5 + 150);
					}else{
						pwmVal_servo=((8*error_angle)/5 + 150);
					}
				}
			}

		}
		else{
			if (pwmVal_servo < 127) { //106 //TURN LEFT
				pwmVal_R = PID_Angle(error_angle, 1)*1.1;  //right is master
				pwmVal_L = pwmVal_R * (0.33); //left is slave

				if (error_angle > 0) {
					//go forward
					//pwmVal_L = pwmVal_R * (0.79); //left is slave
					HAL_GPIO_WritePin(GPIOA, AIN1_Pin, GPIO_PIN_SET); // set direction of rotation for wheel A- reverse
					HAL_GPIO_WritePin(GPIOA, AIN2_Pin, GPIO_PIN_RESET);
					HAL_GPIO_WritePin(GPIOA, BIN2_Pin, GPIO_PIN_RESET); // set direction of rotation for wheel B - Forward
					HAL_GPIO_WritePin(GPIOA, BIN1_Pin, GPIO_PIN_SET);
				} else {
					//go backward
					pwmVal_L = pwmVal_R * (0.49); //left is slave
					//pwmVal_servo = 106;
					HAL_GPIO_WritePin(GPIOA, AIN1_Pin, GPIO_PIN_RESET); // set direction of rotation for wheel A - forward
					HAL_GPIO_WritePin(GPIOA, AIN2_Pin, GPIO_PIN_SET);
					HAL_GPIO_WritePin(GPIOA, BIN2_Pin, GPIO_PIN_SET); // set direction of rotation for wheel B- reverse
					HAL_GPIO_WritePin(GPIOA, BIN1_Pin, GPIO_PIN_RESET);
				}
			} else if (pwmVal_servo > 189) { //230 //TURN RIGHT
				pwmVal_L = PID_Angle(error_angle, 0);
				pwmVal_R = pwmVal_L * (0.37); //right is slave

				if (error_angle < 0) {
					//go forward
					//pwmVal_R = pwmVal_L * (0.37); //right is slave
					HAL_GPIO_WritePin(GPIOA, BIN1_Pin, GPIO_PIN_SET); // set direction of rotation for wheel B- Reverse
					HAL_GPIO_WritePin(GPIOA, BIN2_Pin, GPIO_PIN_RESET);
					HAL_GPIO_WritePin(GPIOA, AIN2_Pin, GPIO_PIN_RESET); // set direction of rotation for wheel A - forward
					HAL_GPIO_WritePin(GPIOA, AIN1_Pin, GPIO_PIN_SET);
				} else {
					//go backward
					pwmVal_R = pwmVal_L * (0.305); //right is slave

					HAL_GPIO_WritePin(GPIOA, BIN1_Pin, GPIO_PIN_RESET); // set direction of rotation for wheel B - reverse
					HAL_GPIO_WritePin(GPIOA, BIN2_Pin, GPIO_PIN_SET);
					HAL_GPIO_WritePin(GPIOA, AIN2_Pin, GPIO_PIN_SET); // set direction of rotation for wheel A- forward
					HAL_GPIO_WritePin(GPIOA, AIN1_Pin, GPIO_PIN_RESET);
				}
			} else {
				if(straightUS) {
					pwmVal_L = PID_Juke(Distance, 1);
					if (abs(leftEncoderVal)<abs(rightEncoderVal)){
						straightCorrection++;
					} else{ straightCorrection--;}
					if (pwmVal_R<1000){
						straightCorrection=0;
					}
					pwmVal_R = PID_Juke(Distance, 0) + straightCorrection;

				}
				else {
					pwmVal_L = PID_Control(rightTarget - rightEncoderVal, 1);
					if (abs(leftEncoderVal)<abs(rightEncoderVal)){
						straightCorrection++;
					} else {
						straightCorrection--;
					}
					if (pwmVal_R<1000){
						straightCorrection=0;
					}
					pwmVal_R = PID_Control(leftTarget - leftEncoderVal, 0) + straightCorrection;
				}
				//line correction equation is pwmVal = (19*error)/5 + SERVOCENTER
				if (errorcorrection == 1){
					if(Distance>usTargetGLOBAL){
						if (error_angle>5){ // if turn left, 106. right 230. left +. right -.
							pwmVal_servo=((-8*5)/5 + 150);
						}
						else if(error_angle<-5){
							pwmVal_servo=((8*5)/5 + 150);
						}else{
							pwmVal_servo=((-8*error_angle)/5 + 150);
						}
					} else {
						if (error_angle>5){ // if turn left, 106. right 230. left +. right -.
							pwmVal_servo=((8*5)/5 + 150);
						}
						else if(error_angle<-5){
							pwmVal_servo=((-8*5)/5 + 150);
						}else{
							pwmVal_servo=((8*error_angle)/5 + 150);
						}
					}
				}
			}
		}

		if (e_brake) {
			pwmVal_L = pwmVal_R = 0;
			leftTarget = leftEncoderVal;
			rightTarget = rightEncoderVal;
		}

		__HAL_TIM_SetCompare(&htim8,TIM_CHANNEL_1,pwmVal_L);

		__HAL_TIM_SetCompare(&htim8,TIM_CHANNEL_2,(pwmVal_R * 1.15));
		osDelay(1);

		if (times_acceptable > 1000) {
			times_acceptable = 1001;
		}
	}
  /* USER CODE END StartMotorTask */
}

void StartOLEDTask(void *argument)
{
  /* USER CODE BEGIN StartOLEDTask */
	uint8_t usVal[20] = { 0 };
	uint8_t gyroVal[20] = { 0 };
	uint8_t command[20] = { 0 };
	uint8_t lefty[20] = { 0 };
	uint8_t righty[20] = { 0 };
	for (;;) {
		sprintf(usVal, "Distance: %d \0", (int) Distance);
		OLED_ShowString(0, 10, usVal);

		int decimals = abs((int) ((total_angle - (int) (total_angle)) * 1000));
		sprintf(gyroVal, "TGyro: %d.%d \0", (int) total_angle, decimals);
		OLED_ShowString(0, 20, gyroVal);
		sprintf(lefty, "IRL: %d \0", irDistance1);
		OLED_ShowString(0, 30, lefty);
		sprintf(righty, "IRR: %d \0", irDistance2);
		OLED_ShowString(0, 40, righty);

		sprintf(command, "C: %c%c%c%c \0", aRxBuffer[0],aRxBuffer[1],aRxBuffer[2],aRxBuffer[3]);
		OLED_ShowString(0, 50, command);

		OLED_Refresh_Gram();
		osDelay(100);
	}
  /* USER CODE END StartOLEDTask */
}

void StartGyroTask(void *argument)
{
  /* USER CODE BEGIN StartGyroTask */
	gyroInit();
	uint8_t val[2] = { 0, 0 };

	int16_t angular_speed = 0;

	uint32_t tick = 0;
	double offset = 0;
	double trash = 0;
	int i = 0;
	while (i < 300) { // 300, reduce the calibration
		osDelay(30); // 50, reduce the sampling
		readByte(0x37, val);
		angular_speed = (val[0] << 8) | val[1];
		trash += (double) ((double) angular_speed)
				* ((HAL_GetTick() - tick) / 16400.0);
		offset += angular_speed;
		tick = HAL_GetTick();
		i++;
	}
	buzzerBeep();
	k = 1;
	offset = offset / i;

	tick = HAL_GetTick();
	/* Infinite loop */
	for (;;) {

		osDelay(10);
		if (HAL_GetTick() - tick >= 2) {
			readByte(0x37, val);
			angular_speed = (val[0] << 8) | val[1];
			total_angle += (double) ((double) angular_speed - offset)
					* ((HAL_GetTick() - tick) / 16400.0);
//			total_angle += (double) ((double) angular_speed / 16.4 * 0.01);
			i -= angular_speed;
			tick = HAL_GetTick();
			i++;
		}
	}
  /* USER CODE END StartGyroTask */
}

void StartUltrasonicTask(void *argument)
{
  /* USER CODE BEGIN StartUltrasonicTask */
	HAL_TIM_IC_Start_IT(&htim4, TIM_CHANNEL_1);  // HC-SR04 Sensor
	osDelay(5000);
	/* Infinite loop */
	for (;;) {
		HCSR04_Read();
		osDelay(100);
	}
  /* USER CODE END StartUltrasonicTask */
}

void StartCommunicateTask(void *argument)
{
	char ack = 'A';
	int corr = 8;
	aRxBuffer[0] = 'E';
	aRxBuffer[1] = 'M';
	aRxBuffer[2] = 'P';
	aRxBuffer[3] = 'T';
	aRxBuffer[4] = 'Y';

	/* Infinite loop */
	for (;;) {
	}
}

void StartEncoderRTask(void *argument)
{
  /* USER CODE BEGIN StartEncoderRTask */
	/* Infinite loop */
	HAL_TIM_Encoder_Start(&htim3, TIM_CHANNEL_ALL);
	int cnt1;
	int dirR = 1;
	int diff;
	uint32_t tick = HAL_GetTick();
	/* Infinite loop */
	for (;;) {
		if (HAL_GetTick() - tick > 10L) {
			cnt1 = __HAL_TIM_GET_COUNTER(&htim3);
			if (cnt1 > 32000) {
				dirR = 1;
				diff = (65536 - cnt1);
			} else {
				dirR = -1;
				diff = cnt1;
			}

			if (dirR == 1) {
				rightEncoderVal -= diff;
			} else {
				rightEncoderVal += diff;
			}

			__HAL_TIM_SET_COUNTER(&htim3, 0);

			tick = HAL_GetTick();
		}
	}
  /* USER CODE END StartEncoderRTask */
}

void StartEncoderLTask(void *argument)
{
  /* USER CODE BEGIN StartEncoderLTask */
	HAL_TIM_Encoder_Start(&htim2, TIM_CHANNEL_ALL);
	int cnt2;
	int dirL = 1;
	int diff;
	uint32_t tick = HAL_GetTick();
	/* Infinite loop */
	for (;;) {
		if (HAL_GetTick() - tick > 10L) {
			cnt2 = __HAL_TIM_GET_COUNTER(&htim2);
			if (cnt2 > 32000) {
				dirL = 1;
				diff = (65536 - cnt2);
			} else {
				dirL = -1;
				diff = cnt2;
			}
			if (dirL == 1) {
				leftEncoderVal += diff;
			} else {
				leftEncoderVal -= diff;
			}
			__HAL_TIM_SET_COUNTER(&htim2, 0);

			tick = HAL_GetTick();
		}
	}

  /* USER CODE END StartEncoderLTask */
}

// ! Move car straight with the US as well
void moveCarStraightSensor(int usTarget)
{
	usTargetGLOBAL= usTarget;
	pwmVal_servo = SERVOCENTER;
	osDelay(100);
	straightUS = 1;
	control = 0;
	errorcorrection = 1;
	e_brake = 0;
	times_acceptable=0;
	while(finishCheck());

}

// ! Main task
void StartTask2(void *argument)
{
	//to be in straight 127 < x <189
	//IRdistance 2 is Right IR
	//change move car straight to allow for
  int pass = 0;
  for(;;)
  {
	if (pass) {
		break;
	}
    while(k!=1){
    	osDelay(50);
    }
    // aRxBuffer[0] = 'S';   //HERE IF HARDCODE -------------------------
    while(aRxBuffer[1] != 'S'){
    	osDelay(5);
    }
	//rightEncoderVal = leftEncoderVal=0;

	//errorcorrection = 1;
	times_acceptable=0;
//	osDelay(100);
//	while (firstDistance < 60) {
//		firstDistance = Distance;
//		osDelay(50);
//	}
	//IRCheck(SERVOCENTER);
	osDelay(100);

	// ! first movement
	moveCarStraightSensor(28); // doesnt change the direction

	// osDelay(100);
	// Pause to take picture
	HAL_UART_Transmit(&huart3, "A", 1,0xFFFF);
	// aRxBuffer[1]='L';
	nexttask = 'Z';
	while(nexttask == 'Z'){
		if(/*update==2 &&*/ aRxBuffer[2]=='L' || aRxBuffer[2]=='R'){
				nexttask = aRxBuffer[2];
		}
	}

    if(nexttask == 'L'){
    	moveCarLeft(50); // ! second movement
    	moveCarRight(55); // ! third movement, 105
    	finished();
    	if(aRxBuffer[0] == 'I'){

    	    	moveCarStraightSensor(35); //testing new shit
    	    	HAL_UART_Transmit(&huart3, "A", 1,0xFFFF);
    	    }
    	else
    	    		{
    				moveCarStraightSensor(35);
    	    		HAL_UART_Transmit(&huart3, "A", 1,0xFFFF);
    	    		}
//    	osDelay(50);
		//moveCarStraightSensor(28); //test
//		osDelay(50);

    }
    else if(nexttask == 'R'){
    	moveCarRight(50);
    	moveCarLeft(55);
    	finished();
//    	osDelay(50);
    	if(aRxBuffer[0] == 'I'){

    	moveCarStraightSensor(35); //testing new shit
    	HAL_UART_Transmit(&huart3, "A", 1,0xFFFF);
    }
    	else
    		{
    		moveCarStraightSensor(35);
    		HAL_UART_Transmit(&huart3, "A", 1,0xFFFF);
    		}
//    	osDelay(50);

    }

	// aRxBuffer[2] = 'R';
    nexttask = 'Z';
	while(nexttask == 'Z'){
		if(/*update==2 &&*/ aRxBuffer[3]=='L' || aRxBuffer[3]=='R'){
				nexttask = aRxBuffer[3];
		}
	}

	if(nexttask == 'L'){

		if (aRxBuffer[2] == 'L') {
//			moveCarLeft(95);
			moveCarLeft(65);
		} else if (aRxBuffer[2] == 'R'){
			moveCarLeft(85);
		} else {
			moveCarLeft(90);
		}
		osDelay(200);
		while(irDistance2<30){ // lets the car move until the IR detects less than 27
			control2 = 1;
			control3 = 1; // should not juke during the facing second obstacle

			IRCheck(SERVOCENTER); // sets control to 1, value inside is for servo motor
			// 150 is center, 105 is most left, 210 is most right
		}
		finished();
		osDelay(50);
		if (aRxBuffer[2] == 'L'){
			// 175 - 30 = 145
//			moveCarRightFaster(75);
//			moveCarRightFaster(70);
			moveCarRightFaster(145);
		} else if (aRxBuffer[2] == 'R') {
			// normal route
			moveCarRightFaster(175);
//			moveCarRightFaster(70);
//			moveCarRightFaster(105);
		}
//		moveCarRightFaster(175);

		while(irDistance2>30){ // lets the car move until the IR detects less than 27
			control2=1;
			IRCheck(SERVOCENTER); // sets control to 1, value inside is for servo motor
			// 150 is center, 105 is most left, 210 is most right
		}
		finished();
		osDelay(50);
		while(irDistance2<30){ // lets the car move until the IR detects less than 27
			control2=1;
			IRCheck(SERVOCENTER); // sets control to 1, value inside is for servo motor
			// 150 is center, 105 is most left, 210 is most right
		}
		finished();
		moveCarRight(90);
		moveCarRightFaster(58);
		moveCarLeftFaster(50); // 55
		finished();
		osDelay(30);
		while(irDistance2>30){ // lets the car move until the IR detects less than 27
			control2=1;
			control3=1;
			IRCheck(158); // sets control to 1, value inside is for servo motor
			// 150 is center, 105 is most left, 210 is most right
		}
		finished();
		if(irDistance2<20){
			IRCheck(SERVOCENTER);
			osDelay(100);
			moveCarRightFaster(45);
			moveCarLeftFaster(45);
			moveCarStraightSensor(20);

		}
		else
		if(irDistance2<30){
		IRCheck(SERVOCENTER);
		osDelay(100);
		moveCarRightFaster(60);
		moveCarLeftFaster(60);
		moveCarStraightSensor(20);
		}
		aRxBuffer[0]='E';
		aRxBuffer[1]='M';
		aRxBuffer[2]='P';
	}
	else if(nexttask == 'R'){

		if (aRxBuffer[2] == 'L') {
			moveCarRight(85);
		} else if (aRxBuffer[2] == 'R'){
//			moveCarRight(95); the slow route, doesn't need to turn full 95, it always overshot
			moveCarRight(65);
		} else {
			moveCarRight(90);
		}
		osDelay(200);
		while(irDistance1<30){ // lets the car move until the IR detects less than 27
			control2 = 1;
			control3 = 1;
			IRCheck(SERVOCENTER); // sets control to 1, value inside is for servo motor
		}
		finished();
		if (aRxBuffer[2] == 'R') {
			// smart turns originally 175, but minus 30
//			moveCarLeftFaster(75);
//			moveCarLeftFaster(70);
			moveCarLeftFaster(145);
		} else if (aRxBuffer[2] == 'L') {
			// normal route turns
			moveCarLeftFaster(175);
//			moveCarLeftFaster(70);
//			moveCarLeftFaster(105);
		}
		while(irDistance1>30){ // lets the car move until the IR detects less than 27
			control2=1;
			IRCheck(SERVOCENTER); // sets control to 1, value inside is for servo motor
		}
		finished();
		osDelay(50);
		while(irDistance1<30){ // lets the car move until the IR detects less than 27
			control2=1;
			IRCheck(SERVOCENTER); // sets control to 1, value inside is for servo motor
			// 150 is center, 105 is most left, 210 is most right
		}
		finished();
		moveCarLeft(90);
		moveCarLeftFaster(57);
		moveCarRightFaster(50); // 55
		finished();
		osDelay(30);
		while(irDistance1>30){ // lets the car move until the IR detects less than 27
			control2=1; // moving slowly for checking ir
			control3=1;
			IRCheck(146); // sets control to 1, value inside is for servo motor
			// 150 is center, 105 is most left, 210 is most right
		}
		finished();
		if(irDistance1<20){
			IRCheck(SERVOCENTER);
			osDelay(100);
			moveCarLeftFaster(45);
			moveCarRightFaster(45);
			moveCarStraightSensor(20);
		}
		else
		if(irDistance1<30){
		IRCheck(SERVOCENTER);
		osDelay(100);
		moveCarLeftFaster(60);
		moveCarRightFaster(60);
		moveCarStraightSensor(20);
		}
		aRxBuffer[0]='E';
		aRxBuffer[1]='M';
		aRxBuffer[2]='P';
	}
	pass = 1;
  }
  /* USER CODE END StartTask2 */
}

// ! Start IR task, to read
void StartIRTask(void *argument)
{
  /* USER CODE BEGIN StartIRTask */
  /* Infinite loop */
  uint32_t tick = 0;
  for(;;)
  {
	if (HAL_GetTick() - tick >= 2) {
	    HAL_ADC_Start(&hadc1);
		HAL_ADC_PollForConversion(&hadc1, 10);
		ADC_VAL1 = HAL_ADC_GetValue(&hadc1);
		HAL_ADC_Stop(&hadc1);

		HAL_ADC_Start(&hadc2);
		HAL_ADC_PollForConversion(&hadc2, 10);
		ADC_VAL2 = HAL_ADC_GetValue(&hadc2);
		HAL_ADC_Stop(&hadc2);
		voltage1 = (float) (ADC_VAL1*5)/4095;
		irDistance1 = roundf(29.988 *pow(voltage1 , -1.173));
		voltage2 = (float) (ADC_VAL2*5)/4095;
		irDistance2 = roundf(29.988 *pow(voltage2 , -1.173));
		tick = HAL_GetTick();
	}
  }
  /* USER CODE END StartIRTask */
}

void Error_Handler(void)
{
	__disable_irq();
	while (1) {
	}
}
